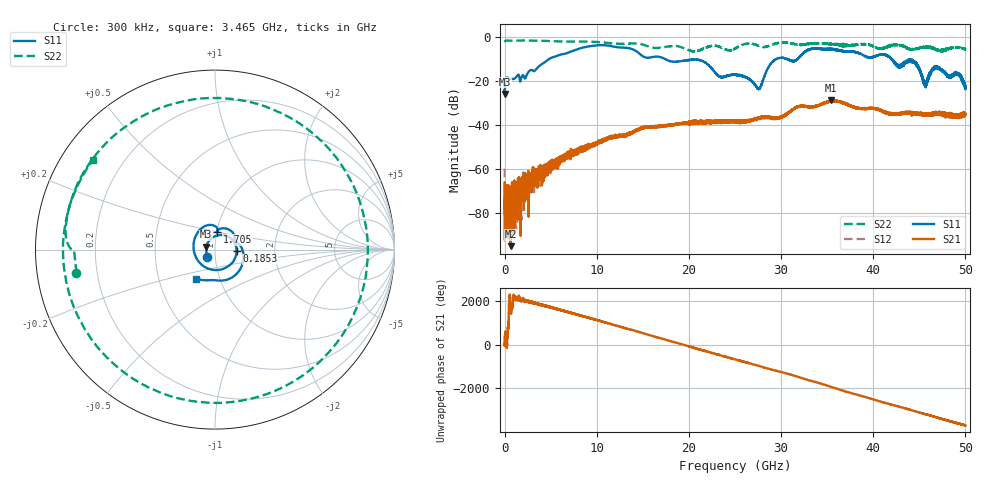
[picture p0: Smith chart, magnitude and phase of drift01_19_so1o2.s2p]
!Created with skrf (http://scikit-rf.org).
# Hz S RI R 50.0
!freq ReS11 ImS11 ReS21 ImS21 ReS12 ImS12 ReS22 ImS22
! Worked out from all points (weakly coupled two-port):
!   10001 points, 300 kHz to 50 GHz, reference 50 ohm
!   highest |S21| = -28.58 dB at 35.42 GHz (marker M1); lowest = -95.3 dB at 655.3 MHz (marker M2)
!   lowest |S11| = -25.8 dB at 5.3 MHz (marker M3), VSWR 1.11, Z = 45.3 + j1.4 ohm
!   |S11| at or under -10 dB: start of sweep to 4.764 GHz; 17.51 GHz to 29.4 GHz (11.9 GHz wide, 50.7 % of centre); 43.86 GHz to end of sweep (the widest 3 of 13)
!   |S22| runs from -6.5 to -1.4 dB; largest |S21 - S12| = 0.0037
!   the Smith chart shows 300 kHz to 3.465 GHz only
!   S11 on the Smith chart (normalised r, x): 300 kHz: 0.91, -0.07; 185.3 MHz: 1.27, -0.02; 1.705 GHz: 1.00, +0.20; 3.465 GHz: 0.77, -0.26
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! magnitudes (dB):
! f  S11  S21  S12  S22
! 300 kHz  -24.1  -75.2  -59.9  -2.1
! 5.3 MHz  -25.8  -78.5  -78.5  -2.1
! 185.3 MHz  -18.4  -76.7  -85.1  -1.4
! 655.3 MHz  -18.9  -95.3  -79.1  -1.5
! 1.705 GHz  -20.1  -69.5  -68.6  -1.4
! 3.465 GHz  -14.3  -65.3  -63.8  -1.5
! 8.335 GHz  -4.8  -50.9  -51.7  -1.8
! 16.67 GHz  -8.7  -40.7  -40.7  -4.8
! 21.16 GHz  -10.3  -38.6  -39.0  -5.9
! 23.36 GHz  -17.9  -38.4  -38.5  -4.4
! 25 GHz  -17.1  -38.5  -38.5  -5.1
! 27.59 GHz  -23.5  -36.8  -36.9  -3.8
! 29.28 GHz  -10.3  -36.6  -36.8  -2.9
! 31.45 GHz  -10.7  -32.3  -32.3  -3.0
! 33.34 GHz  -5.1  -31.6  -31.7  -2.7
! 35.42 GHz  -5.3  -28.6  -29.1  -2.8
! 41.67 GHz  -8.9  -34.8  -34.6  -4.4
! 42.74 GHz  -13.0  -34.8  -35.1  -3.4
! 44.43 GHz  -11.4  -34.1  -34.7  -5.2
! 45.63 GHz  -21.1  -35.6  -35.3  -4.3
! 46.89 GHz  -13.9  -34.4  -34.6  -5.4
! 50 GHz  -22.0  -35.2  -35.1  -5.3
